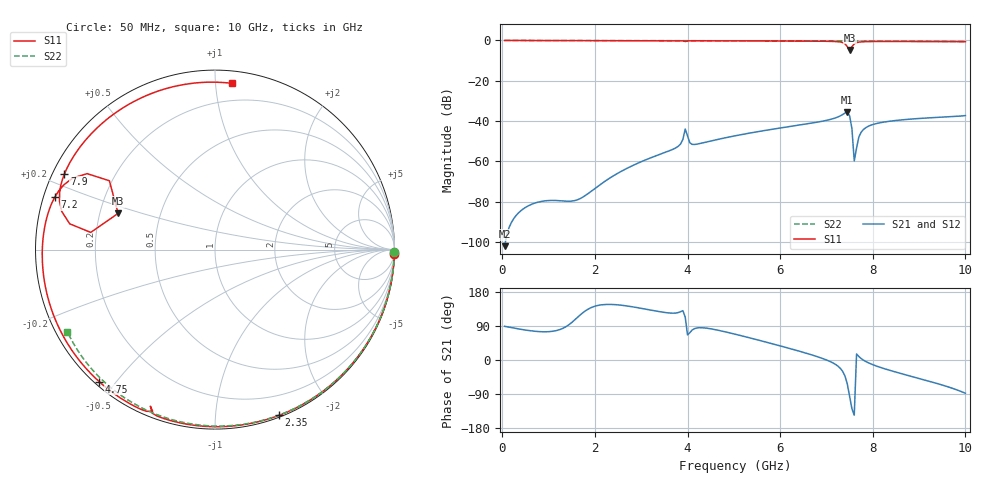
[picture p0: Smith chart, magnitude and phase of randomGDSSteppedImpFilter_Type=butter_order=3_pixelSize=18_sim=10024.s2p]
! freq	dB(S11)	phase(S11)	dB(S12)	phase(S12)
!  dB(S21)	phase(S21)	dB(S22)	phase(S22)
!S-par simulation data
#  GHz  S  DB  R 50
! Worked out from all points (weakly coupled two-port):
!   200 points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, 50 MHz to 10 GHz, reference 50 ohm
!   highest |S21| = -35.68 dB at 7.45 GHz (marker M1); lowest = -102.1 dB at 50 MHz (marker M2)
!   lowest |S11| = -4.8 dB at 7.5 GHz (marker M3), VSWR 3.72, Z = 13.8 + j8.36 ohm
!   |S11| at or under -10 dB: nowhere
!   |S22| runs from -0.5 to 0.0 dB; largest |S21 - S12| = 0
!   S11 on the Smith chart (normalised r, x): 50 MHz: 0, -75; 2.35 GHz: 0.02, -1.46; 4.75 GHz: 0.01, -0.45; 7.2 GHz: 0.03, +0.16; 7.9 GHz: 0.03, +0.24; 10 GHz: 0.08, +1.10
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0.05  -0.00 -1.5  -102.10 88.9  -102.10 88.9  -0.00 -0.9
1.45  -0.06 -43.3  -79.80 94.1  -79.80 94.1  -0.03 -24.8
1.75  -0.07 -52.0  -77.60 125.7  -77.60 125.7  -0.04 -29.8
2.35  -0.09 -68.9  -67.88 146.6  -67.88 146.6  -0.05 -39.7
3.4  -0.13 -97.2  -56.55 127.4  -56.55 127.4  -0.08 -56.6
3.85  -0.16 -109.3  -51.38 127.5  -51.38 127.5  -0.09 -63.6
3.95  -0.50 -112.4  -43.96 113.3  -43.96 113.3  -0.09 -65.2
4.05  -0.19 -112.9  -50.80 72.1  -50.80 72.1  -0.09 -66.7
4.1  -0.17 -114.5  -51.57 79.1  -51.57 79.1  -0.09 -67.5
4.75  -0.19 -131.3  -48.63 76.1  -48.63 76.1  -0.11 -77.3
5.05  -0.21 -138.8  -47.22 67.5  -47.22 67.5  -0.13 -81.7
6.7  -0.34 178.5  -40.95 12.8  -40.95 12.8  -0.20 -105.2
7.2  -0.54 161.9  -38.39 -12.0  -38.39 -12.0  -0.24 -112.1
7.45  -3.07 146.9  -35.68 -63.2  -35.68 -63.2  -0.25 -115.6
7.5  -4.79 159.5  -37.41 -96.2  -37.41 -96.2  -0.26 -116.2
7.55  -3.11 172.1  -43.79 -128.7  -43.79 -128.7  -0.27 -116.9
7.6  -1.70 169.9  -59.76 -145.6  -59.76 -145.6  -0.27 -117.6
7.7  -0.84 162.7  -47.86 9.1  -47.86 9.1  -0.28 -118.9
7.9  -0.55 153.3  -42.63 -7.1  -42.63 -7.1  -0.29 -121.6
8.35  -0.50 138.1  -40.13 -26.6  -40.13 -26.6  -0.33 -127.7
9.2  -0.55 111.0  -38.43 -55.5  -38.43 -55.5  -0.42 -139.4
10  -0.62 84.2  -37.28 -87.7  -37.28 -87.7  -0.53 -150.9
